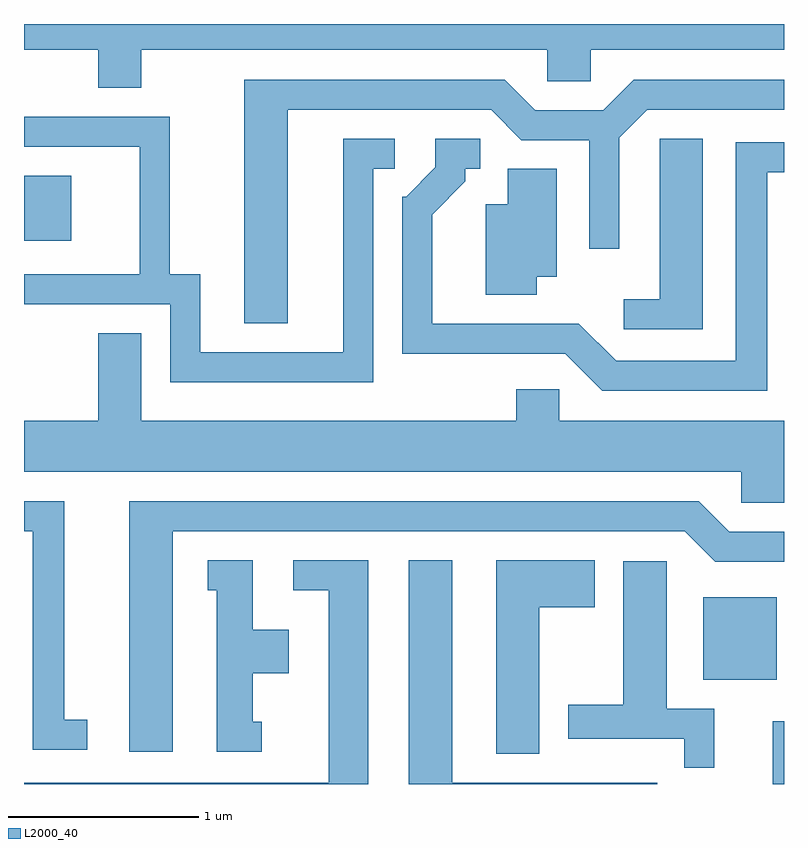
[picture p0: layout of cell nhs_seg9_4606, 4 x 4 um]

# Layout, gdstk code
import gdstk
lib = gdstk.Library(unit=1e-6, precision=1e-09)
def R(c, l, rs):  # rectangles x0, y0, x1, y1
    for r in rs: c.add(gdstk.rectangle(r[:2], r[2:], *l))
def P(c, l, *ps):  # polygons
    for p in ps: c.add(gdstk.Polygon(p, *l))
L2000_40 = (2000, 40)

nhs_seg9_4606 = lib.new_cell('nhs_seg9_4606')
R(nhs_seg9_4606, L2000_40, [(325.551,1952.432,325.611,1952.763), (325.186,1952.981,325.574,1953.414), (321.611,1955.291,321.859,1955.634)])
P(nhs_seg9_4606, L2000_40, [(322.229,1956.296),(324.366,1956.296),(324.366,1956.131),(324.594,1956.131),(324.594,1956.296),(325.611,1956.296),(325.611,1956.432),(321.611,1956.432),(321.611,1956.296),(322.001,1956.296),(322.001,1956.096),(322.229,1956.096)],
  [(322.999,1955.981),(324.069,1955.981),(324.229,1955.821),(324.586,1955.821),(324.586,1955.248),(324.744,1955.248),(324.744,1955.834),(324.892,1955.981),(325.611,1955.981),(325.611,1956.139),(324.819,1956.139),(324.659,1955.979),(324.302,1955.979),(324.142,1956.139),(322.771,1956.139),(322.771,1954.856),(322.999,1954.856)],
  [(323.449,1955.671),(323.563,1955.671),(323.563,1955.829),(323.291,1955.829),(323.291,1954.704),(322.539,1954.704),(322.539,1955.114),(322.379,1955.114),(322.379,1955.944),(321.611,1955.944),(321.611,1955.786),(322.221,1955.786),(322.221,1955.114),(321.611,1955.114),(321.611,1954.956),(322.381,1954.956),(322.381,1954.546),(323.449,1954.546)],
  [(325.184,1955.829),(324.956,1955.829),(324.956,1954.984),(324.768,1954.984),(324.768,1954.826),(325.184,1954.826)],
  [(325.524,1955.651),(325.611,1955.651),(325.611,1955.809),(325.356,1955.809),(325.356,1954.659),(324.727,1954.659),(324.532,1954.854),(323.759,1954.854),(323.759,1955.429),(323.934,1955.604),(323.934,1955.671),(324.013,1955.671),(324.013,1955.829),(323.776,1955.829),(323.776,1955.677),(323.624,1955.524),(323.601,1955.524),(323.601,1954.696),(324.459,1954.696),(324.654,1954.501),(325.524,1954.501)],
  [(324.309,1955.101),(324.414,1955.101),(324.414,1955.669),(324.156,1955.669),(324.156,1955.484),(324.041,1955.484),(324.041,1955.006),(324.309,1955.006)],
  [(325.611,1954.344),(324.429,1954.344),(324.429,1954.509),(324.201,1954.509),(324.201,1954.344),(322.229,1954.344),(322.229,1954.804),(322.001,1954.804),(322.001,1954.344),(321.611,1954.344),(321.611,1954.076),(325.386,1954.076),(325.386,1953.911),(325.611,1953.911)],
  [(322.394,1953.761),(325.089,1953.761),(325.249,1953.601),(325.611,1953.601),(325.611,1953.759),(325.322,1953.759),(325.162,1953.919),(322.166,1953.919),(322.166,1952.601),(322.394,1952.601)],
  [(321.943,1952.769),(321.824,1952.769),(321.824,1953.919),(321.611,1953.919),(321.611,1953.761),(321.656,1953.761),(321.656,1952.611),(321.943,1952.611)],
  [(324.943,1952.439),(323.864,1952.439),(323.864,1953.609),(323.636,1953.609),(323.636,1952.432),(324.943,1952.432)],
  [(324.324,1953.361),(324.614,1953.361),(324.614,1953.609),(324.096,1953.609),(324.096,1952.591),(324.324,1952.591)],
  [(322.863,1952.759),(322.814,1952.759),(322.814,1953.016),(323.004,1953.016),(323.004,1953.244),(322.814,1953.244),(322.814,1953.609),(322.578,1953.609),(322.578,1953.451),(322.626,1953.451),(322.626,1952.601),(322.863,1952.601)],
  [(323.424,1953.609),(323.028,1953.609),(323.028,1953.451),(323.216,1953.451),(323.216,1952.439),(321.611,1952.439),(321.611,1952.432),(323.424,1952.432)],
  [(325.244,1952.829),(324.994,1952.829),(324.994,1953.604),(324.766,1953.604),(324.766,1952.849),(324.476,1952.849),(324.476,1952.671),(325.086,1952.671),(325.086,1952.518),(325.244,1952.518)])

lib.write_gds('nhs_seg9_4606.gds')
